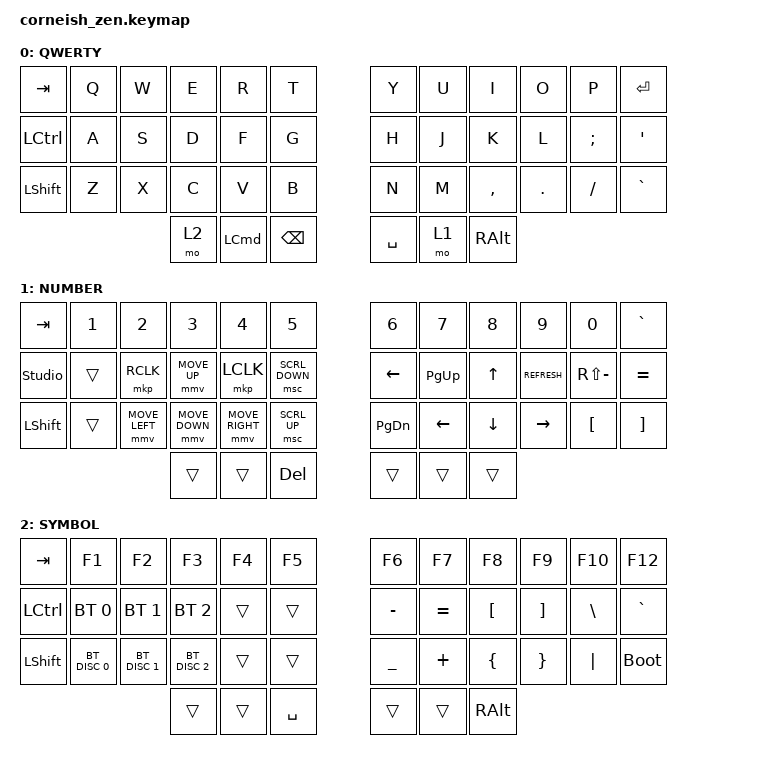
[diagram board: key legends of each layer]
/*
 * Copyright (c) 2020 The ZMK Contributors
 *
 * SPDX-License-Identifier: MIT
 */

#include <behaviors.dtsi>
#include <dt-bindings/zmk/bt.h>
#include <dt-bindings/zmk/keys.h>
#include <dt-bindings/zmk/outputs.h>
#include <dt-bindings/zmk/rgb.h>

/ {
    chosen {
        zmk,matrix_transform = &default_transform;

        // zmk,matrix_transform = &five_column_transform;
    };
};

/ {
    behaviors {
        td0: td0 {
            compatible = "zmk,behavior-tap-dance";
            label = "TD0";
            #binding-cells = <0>;
            bindings = <&kp LEFT_SHIFT>, <&kp CAPS>;
        };
    };

    keymap {
        compatible = "zmk,keymap";

        default_layer {
            display-name = "QWERTY";

            // --------------------------------------------------------------------------------
            // |  TAB |  Q  |  W  |  E  |  R  |  T  |   |  Y  |  U   |  I  |  O  |  P  | BSPC |
            // | CTRL |  A  |  S  |  D  |  F  |  G  |   |  H  |  J   |  K  |  L  |  ;  |  '   |
            // | SHFT |  Z  |  X  |  C  |  V  |  B  |   |  N  |  M   |  ,  |  .  |  /  | ESC  |
            //                    | GUI | LWR | SPC |   | ENT | RSE  | ALT |

            bindings = <
&kp TAB    &kp Q  &kp W  &kp E  &kp R             &kp T            &kp Y      &kp U  &kp I      &kp O    &kp P     &kp ENTER
&kp LCTRL  &kp A  &kp S  &kp D  &kp F             &kp G            &kp H      &kp J  &kp K      &kp L    &kp SEMI  &kp SQT
&kp LSHFT  &kp Z  &kp X  &kp C  &kp V             &kp B            &kp N      &kp M  &kp COMMA  &kp DOT  &kp FSLH  &kp GRAVE
                         &mo 2  &kp LEFT_COMMAND  &kp BACKSPACE    &kp SPACE  &mo 1  &kp RALT
            >;
        };

        lower_layer {
            display-name = "NUMBER";

            // -----------------------------------------------------------------------------------------
            // |  TAB |  1  |  2  |  3  |  4  |  5  |   |  6  |  7  |  8  |  9  |  0  | BSPC |
            // | BTCLR| BT1 | BT2 | BT3 | BT4 | BT5 |   | LFT | DWN |  UP | RGT |     |Studio|
            // | SHFT |     |     |     |     |     |   |     |     |     |     |     |      |
            //                    | GUI |     | SPC |   | ENT |     | ALT |

            bindings = <
&kp TAB         &kp N1  &kp N2          &kp N3          &kp N4           &kp N5            &kp N6         &kp N7       &kp N8    &kp N9         &kp N0            &kp GRAVE
&studio_unlock  &trans  &mkp RCLK       &mmv MOVE_UP    &mkp LCLK        &msc SCRL_DOWN    &kp LEFT       &kp PAGE_UP  &kp UP    &kp K_REFRESH  &kp RS(MINUS)     &kp EQUAL
&kp LSHFT       &trans  &mmv MOVE_LEFT  &mmv MOVE_DOWN  &mmv MOVE_RIGHT  &msc SCRL_UP      &kp PAGE_DOWN  &kp LEFT     &kp DOWN  &kp RIGHT      &kp LEFT_BRACKET  &kp RIGHT_BRACKET
                                        &trans          &trans           &kp DELETE        &trans         &trans       &trans
            >;
        };

        raise_layer {
            display-name = "SYMBOL";

            // -----------------------------------------------------------------------------------------
            // |  TAB |  !  |  @  |  #  |  $  |  %  |   |  ^  |  &  |  *  |  (  |  )  | BSPC |
            // | CTRL |     |     |     |     |     |   |  -  |  =  |  [  |  ]  |  \  |  `   |
            // | SHFT |     |     |     |     |     |   |  _  |  +  |  {  |  }  | "|" |  ~   |
            //                    | GUI |     | SPC |   | ENT |     | ALT |

            bindings = <
&kp TAB    &kp F1         &kp F2         &kp F3         &kp F4  &kp F5       &kp F6     &kp F7     &kp F8    &kp F9    &kp F10   &kp F12
&kp LCTRL  &bt BT_SEL 0   &bt BT_SEL 1   &bt BT_SEL 2   &trans  &trans       &kp MINUS  &kp EQUAL  &kp LBKT  &kp RBKT  &kp BSLH  &kp GRAVE
&kp LSHFT  &bt BT_DISC 0  &bt BT_DISC 1  &bt BT_DISC 2  &trans  &trans       &kp UNDER  &kp PLUS   &kp LBRC  &kp RBRC  &kp PIPE  &bootloader
                                         &trans         &trans  &kp SPACE    &trans     &trans     &kp RALT
            >;
        };
    };
};
